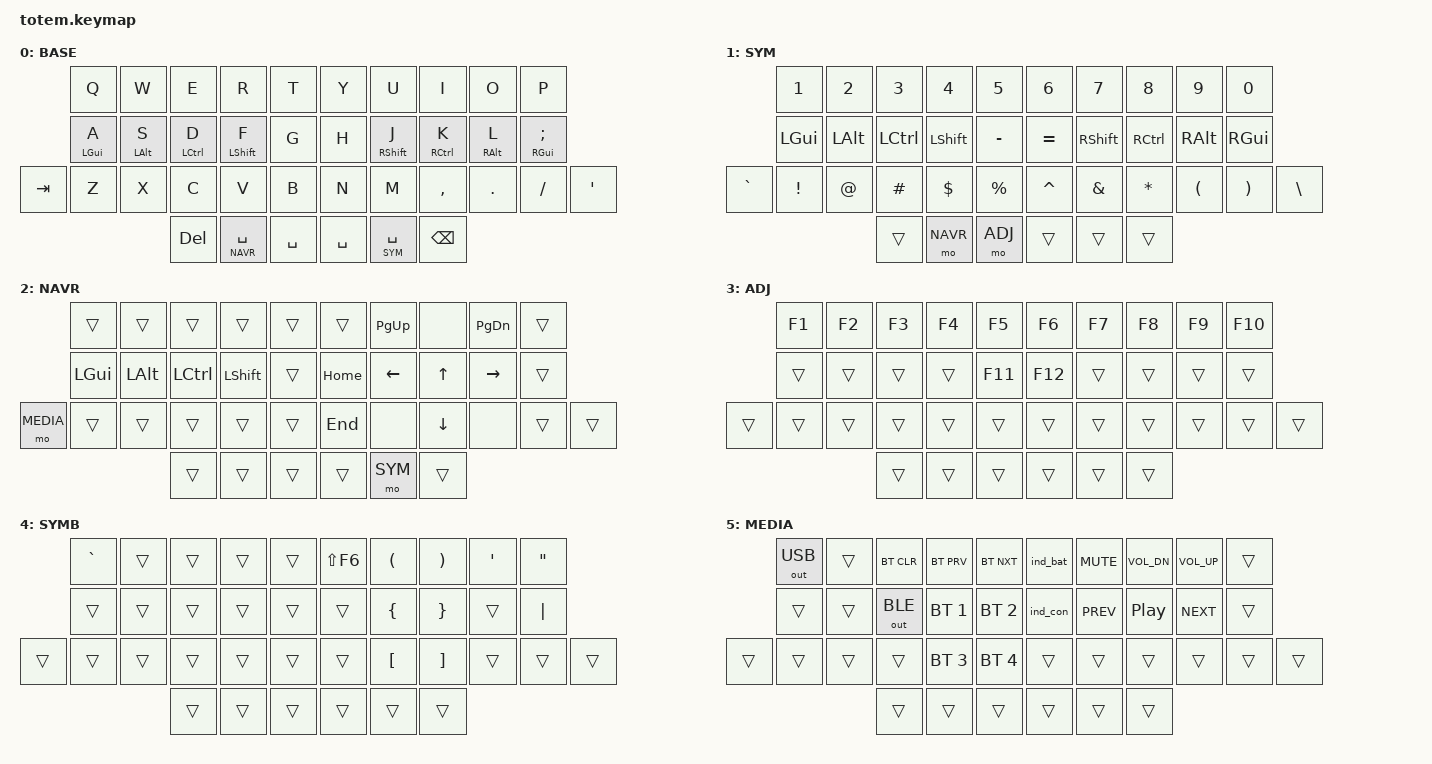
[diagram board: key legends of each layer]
//
//                                                        ▀▀▀▀▀     ▀▀▀▀▀          ▀▀█▀▀
//                                                        ▄▀▀▀▄  ▄  ▄▀▀▀▄  ▄  ▄▀▀▀▄  █  ▄▀▀▀▄
//                                                        █   █  █  █   █  █  █   █  █  █   █
//                                                         ▀▀▀   █   ▀▀▀   █   ▀▀▀   ▀   ▀▀▀
//                                                               █      ▄▄▄█▄▄▄    █   █  
//                                                               ▀      █  █  █     █▄█
//                                                             ▀▀▀▀▀    █  █  █      ▀
//                                                                      ▀  ▀  ▀
//
// ▄▄▄▄▄▄▄▄▄▄▄▄▄▄▄▄▄▄▄▄▄▄▄▄▄▄▄▄▄▄▄▄▄▄▄▄▄▄▄▄▄▄▄▄▄▄▄▄▄▄▄▄▄▄▄▄▄▄▄▄▄▄▄▄▄▄▄▄▄▄▄▄▄▄▄▄▄▄▄▄▄▄▄▄▄▄▄▄▄▄▄▄▄▄▄▄▄▄▄▄▄▄▄▄▄▄▄▄▄▄▄▄▄▄▄▄▄▄▄▄▄▄▄▄▄▄▄▄▄▄▄▄▄▄▄▄▄▄▄▄▄▄▄▄▄▄▄▄▄

#include <behaviors.dtsi>
#include <dt-bindings/zmk/bt.h>
#include <dt-bindings/zmk/keys.h>
#include <dt-bindings/zmk/outputs.h>
#include <behaviors/rgbled_widget.dtsi>

#define BASE 0
#define SYM  1
#define NAVR 2
#define ADJ  3
#define SYMB 4
#define MEDIA 5

&mt {
    quick-tap-ms = <100>;
    global-quick-tap;
    flavor = "tap-preferred";
    tapping-term-ms = <200>;
};

&lt {
    tapping-term-ms = <200>;
};

/ {
    combos {
        compatible = "zmk,combos";

        combo_esc {
            timeout-ms = <50>;
            key-positions = <0 1>;
            bindings = <&kp ESC>;
        };

        combo_return {
            timeout-ms = <100>;
            bindings = <&kp RETURN>;
            key-positions = <16 17>;
        };

        combo_delete {
            timeout-ms = <100>;
            bindings = <&kp DEL>;
            key-positions = <3 4>;
        };

        combo_backspace {
            timeout-ms = <75>;
            bindings = <&kp BACKSPACE>;
            key-positions = <7 8>;
        };

        combo_caps {
            timeout-ms = <75>;
            bindings = <&kp CAPS>;
            key-positions = <14 15>;
        };

        combo_tog_l2 {
            timeout-ms = <75>;
            bindings = <&tog 2>;
            key-positions = <24 25>;
        };
    };

    conditional_layers {
        compatible = "zmk,conditional-layers";
        tri_layer {
            if-layers = <1 2>;
            then-layer = <4>;
        };
    };

    keymap {
        compatible = "zmk,keymap";
        // ▄▄▄▄▄▄▄▄▄▄▄▄▄▄▄▄▄▄▄▄▄▄▄▄▄▄▄▄▄▄▄▄▄▄▄▄▄▄▄▄▄▄▄▄▄▄▄▄▄▄▄▄▄▄▄▄▄▄▄▄▄▄▄▄▄▄▄▄▄▄▄▄▄▄▄▄▄▄▄▄▄▄▄▄▄▄▄▄▄▄▄▄▄▄▄▄▄▄▄▄▄▄▄▄▄▄▄▄▄▄▄▄▄▄▄▄▄▄▄▄▄▄▄▄▄▄▄▄▄▄▄▄▄▄▄▄▄▄▄▄▄▄▄▄▄▄▄▄▄

        base_layer {
            // ┏━━━━━━━━━━━━━━━━━━━━━━━━━━━━━━━━━━━━━━━┓
            label = "BASE";
            // ┗━━━━━━━━━━━━━━━━━━━━━━━━━━━━━━━━━━━━━━━┛
            //             ┏━━━━━━━━━━━┳━━━━━━━━━━━┳━━━━━━━━━━━┳━━━━━━━━━━━┳━━━━━━━━━━━┓   ┏━━━━━━━━━━━┳━━━━━━━━━━━┳━━━━━━━━━━━┳━━━━━━━━━━━┳━━━━━━━━━━━┓
            //             ┃     Q     ┃     W     ┃     E     ┃     R     ┃     T     ┃   ┃     Y     ┃     U     ┃     I     ┃     O     ┃     P     ┃
            //             ┣━━━━━━━━━━━╋━━━━━━━━━━━╋━━━━━━━━━━━╋━━━━━━━━━━━╋━━━━━━━━━━━┫   ┣━━━━━━━━━━━╋━━━━━━━━━━━╋━━━━━━━━━━━╋━━━━━━━━━━━╋━━━━━━━━━━━┫
            //             ┃     A     ┃     S     ┃     D     ┃     F     ┃     G     ┃   ┃     H     ┃     J     ┃     K     ┃     L     ┃     ;     ┃
            // ┏━━━━━━━━━━━╋━━━━━━━━━━━╋━━━━━━━━━━━╋━━━━━━━━━━━╋━━━━━━━━━━━╋━━━━━━━━━━━┫   ┣━━━━━━━━━━━╋━━━━━━━━━━━╋━━━━━━━━━━━╋━━━━━━━━━━━╋━━━━━━━━━━━╋━━━━━━━━━━━┓
            // ┃    TAB    ┃     Z     ┃     X     ┃     C     ┃     V     ┃     B     ┃   ┃     N     ┃     M     ┃     ,     ┃     .     ┃     /     ┃    '/"    ┃
            // ┗━━━━━━━━━━━┻━━━━━━━━━━━┻━━━━━━━━━━━╋━━━━━━━━━━━╋━━━━━━━━━━━╋━━━━━━━━━━━┫   ┣━━━━━━━━━━━╋━━━━━━━━━━━╋━━━━━━━━━━━╋━━━━━━━━━━━┻━━━━━━━━━━━┻━━━━━━━━━━━┛
            //                                     ┃    DEL    ┃  NAV/SPC  ┃    SPC    ┃   ┃    SPC    ┃  SYM/SPC  ┃   BSPC    ┃
            //                                     ┗━━━━━━━━━━━┻━━━━━━━━━━━┻━━━━━━━━━━━┛   ┗━━━━━━━━━━━┻━━━━━━━━━━━┻━━━━━━━━━━━┛

            bindings = <
            &kp Q       &kp W       &kp E        &kp R           &kp T        &kp Y      &kp U        &kp I        &kp O       &kp P
            &mt LGUI A  &mt LALT S  &mt LCTRL D  &mt LSHFT F     &kp G        &kp H      &mt RSHFT J  &mt RCTRL K  &mt RALT L  &mt RGUI SEMI
&kp TAB     &kp Z       &kp X       &kp C        &kp V           &kp B        &kp N      &kp M        &kp COMMA    &kp DOT     &kp FSLH       &kp APOS
                                    &kp DEL      &lt NAVR SPACE  &kp SPACE    &kp SPACE  &lt SYM SPACE  &kp BSPC
            >;
        };

        // ▄▄▄▄▄▄▄▄▄▄▄▄▄▄▄▄▄▄▄▄▄▄▄▄▄▄▄▄▄▄▄▄▄▄▄▄▄▄▄▄▄▄▄▄▄▄▄▄▄▄▄▄▄▄▄▄▄▄▄▄▄▄▄▄▄▄▄▄▄▄▄▄▄▄▄▄▄▄▄▄▄▄▄▄▄▄▄▄▄▄▄▄▄▄▄▄▄▄▄▄▄▄▄▄▄▄▄▄▄▄▄▄▄▄▄▄▄▄▄▄▄▄▄▄▄▄▄▄▄▄▄▄▄▄▄▄▄▄▄▄▄▄▄▄▄▄▄▄▄

        sim_layer {
            // ┏━━━━━━━━━━━━━━━━━━━━━━━━━━━━━━━━━━━━━━━┓
            label = "SYM";
            // ┗━━━━━━━━━━━━━━━━━━━━━━━━━━━━━━━━━━━━━━━┛
            //             ┏━━━━━━━━━━━┳━━━━━━━━━━━┳━━━━━━━━━━━┳━━━━━━━━━━━┳━━━━━━━━━━━┓   ┏━━━━━━━━━━━┳━━━━━━━━━━━┳━━━━━━━━━━━┳━━━━━━━━━━━┳━━━━━━━━━━━┓
            //             ┃    1/!    ┃    2/@    ┃    3/#    ┃    4/$    ┃    5/%    ┃   ┃    6/ˆ    ┃    7/&    ┃    8/*    ┃    9/(    ┃    0/)    ┃
            //             ┣━━━━━━━━━━━╋━━━━━━━━━━━╋━━━━━━━━━━━╋━━━━━━━━━━━╋━━━━━━━━━━━┫   ┣━━━━━━━━━━━╋━━━━━━━━━━━╋━━━━━━━━━━━╋━━━━━━━━━━━╋━━━━━━━━━━━┫
            //             ┃    cmd    ┃    alt    ┃    ctrl   ┃   shift   ┃    -/_    ┃   ┃    =/+    ┃           ┃           ┃           ┃           ┃
            // ┏━━━━━━━━━━━╋━━━━━━━━━━━╋━━━━━━━━━━━╋━━━━━━━━━━━╋━━━━━━━━━━━╋━━━━━━━━━━━┫   ┣━━━━━━━━━━━╋━━━━━━━━━━━╋━━━━━━━━━━━╋━━━━━━━━━━━╋━━━━━━━━━━━╋━━━━━━━━━━━┓
            // ┃    `/~    ┃     !     ┃    @      ┃     #     ┃     $     ┃     %     ┃   ┃     ^     ┃     &     ┃     *     ┃     (     ┃     )     ┃      \    ┃
            // ┗━━━━━━━━━━━┻━━━━━━━━━━━┻━━━━━━━━━━━╋━━━━━━━━━━━╋━━━━━━━━━━━╋━━━━━━━━━━━┫   ┣━━━━━━━━━━━╋━━━━━━━━━━━╋━━━━━━━━━━━╋━━━━━━━━━━━┻━━━━━━━━━━━┻━━━━━━━━━━━┛
            //                                     ┃           ┃    NAVR   ┃    ADJ    ┃   ┃           ┃           ┃           ┃
            //                                     ┗━━━━━━━━━━━┻━━━━━━━━━━━┻━━━━━━━━━━━┛   ┗━━━━━━━━━━━┻━━━━━━━━━━━┻━━━━━━━━━━━┛

            bindings = <
                             &kp N1     &kp N2      &kp N3     &kp N4     &kp N5      &kp N6    &kp N7     &kp N8    &kp N9     &kp N0
                             &kp LGUI   &kp LALT    &kp LCTRL  &kp LSHFT  &kp MINUS   &kp EQUAL &kp RSHFT  &kp RCTRL &kp RALT   &kp RGUI
                &kp GRAVE    &kp EXCL   &kp AT_SIGN &kp HASH   &kp DLLR   &kp PRCNT   &kp CARET &kp AMPS   &kp STAR  &kp LPAR   &kp RPAR  &kp BSLH
                                                    &trans     &mo NAVR   &mo ADJ     &trans    &trans     &trans
            >;
        };

        // ▄▄▄▄▄▄▄▄▄▄▄▄▄▄▄▄▄▄▄▄▄▄▄▄▄▄▄▄▄▄▄▄▄▄▄▄▄▄▄▄▄▄▄▄▄▄▄▄▄▄▄▄▄▄▄▄▄▄▄▄▄▄▄▄▄▄▄▄▄▄▄▄▄▄▄▄▄▄▄▄▄▄▄▄▄▄▄▄▄▄▄▄▄▄▄▄▄▄▄▄▄▄▄▄▄▄▄▄▄▄▄▄▄▄▄▄▄▄▄▄▄▄▄▄▄▄▄▄▄▄▄▄▄▄▄▄▄▄▄▄▄▄▄▄▄▄▄▄▄

        navr_layer {
            // ┏━━━━━━━━━━━━━━━━━━━━━━━━━━━━━━━━━━━━━━━┓
            label = "NAVR";
            // ┗━━━━━━━━━━━━━━━━━━━━━━━━━━━━━━━━━━━━━━━┛
            //             ┏━━━━━━━━━━━┳━━━━━━━━━━━┳━━━━━━━━━━━┳━━━━━━━━━━━┳━━━━━━━━━━━┓   ┏━━━━━━━━━━━┳━━━━━━━━━━━┳━━━━━━━━━━━┳━━━━━━━━━━━┳━━━━━━━━━━━┓
            //             ┃           ┃           ┃           ┃           ┃           ┃   ┃           ┃   PG_UP   ┃           ┃   PG_DN   ┃           ┃
            //             ┣━━━━━━━━━━━╋━━━━━━━━━━━╋━━━━━━━━━━━╋━━━━━━━━━━━╋━━━━━━━━━━━┫   ┣━━━━━━━━━━━╋━━━━━━━━━━━╋━━━━━━━━━━━╋━━━━━━━━━━━╋━━━━━━━━━━━┫
            //             ┃    cmd    ┃    alt    ┃    ctrl   ┃   shift   ┃           ┃   ┃    HOME   ┃   LEFT    ┃     UP    ┃   RIGHT   ┃           ┃
            // ┏━━━━━━━━━━━╋━━━━━━━━━━━╋━━━━━━━━━━━╋━━━━━━━━━━━╋━━━━━━━━━━━╋━━━━━━━━━━━┫   ┣━━━━━━━━━━━╋━━━━━━━━━━━╋━━━━━━━━━━━╋━━━━━━━━━━━╋━━━━━━━━━━━╋━━━━━━━━━━━┓
            // ┃  MEDIA    ┃           ┃           ┃           ┃           ┃           ┃   ┃    END    ┃           ┃    DOWN   ┃           ┃           ┃           ┃
            // ┗━━━━━━━━━━━┻━━━━━━━━━━━┻━━━━━━━━━━━╋━━━━━━━━━━━╋━━━━━━━━━━━╋━━━━━━━━━━━┫   ┣━━━━━━━━━━━╋━━━━━━━━━━━╋━━━━━━━━━━━╋━━━━━━━━━━━┻━━━━━━━━━━━┻━━━━━━━━━━━┛
            //                                     ┃           ┃           ┃           ┃   ┃   RGUI    ┃           ┃           ┃
            //                                     ┗━━━━━━━━━━━┻━━━━━━━━━━━┻━━━━━━━━━━━┛   ┗━━━━━━━━━━━┻━━━━━━━━━━━┻━━━━━━━━━━━┛

            bindings = <
                           &trans   &trans   &trans    &trans    &trans    &trans    &kp PG_UP  &none    &kp PG_DN &trans
                           &kp LGUI &kp LALT &kp LCTRL &kp LSHFT &trans    &kp HOME  &kp LEFT   &kp UP   &kp RIGHT &trans
                &mo MEDIA  &trans   &trans   &trans    &trans    &trans    &kp END   &none      &kp DOWN &none    &trans  &trans
                                             &trans    &trans    &trans    &trans    &mo SYM    &trans
            >;
        };

        // ▄▄▄▄▄▄▄▄▄▄▄▄▄▄▄▄▄▄▄▄▄▄▄▄▄▄▄▄▄▄▄▄▄▄▄▄▄▄▄▄▄▄▄▄▄▄▄▄▄▄▄▄▄▄▄▄▄▄▄▄▄▄▄▄▄▄▄▄▄▄▄▄▄▄▄▄▄▄▄▄▄▄▄▄▄▄▄▄▄▄▄▄▄▄▄▄▄▄▄▄▄▄▄▄▄▄▄▄▄▄▄▄▄▄▄▄▄▄▄▄▄▄▄▄▄▄▄▄▄▄▄▄▄▄▄▄▄▄▄▄▄▄▄▄▄▄▄▄▄

        adjust_layer {
            // ┏━━━━━━━━━━━━━━━━━━━━━━━━━━━━━━━━━━━━━━━┓

            label = "ADJ";

            // ┗━━━━━━━━━━━━━━━━━━━━━━━━━━━━━━━━━━━━━━━┛
            //             ┏━━━━━━━━━━━┳━━━━━━━━━━━┳━━━━━━━━━━━┳━━━━━━━━━━━┳━━━━━━━━━━━┓   ┏━━━━━━━━━━━┳━━━━━━━━━━━┳━━━━━━━━━━━┳━━━━━━━━━━━┳━━━━━━━━━━━┓
            //             ┃    F1     ┃    F2     ┃    F3     ┃    F4     ┃    F5     ┃   ┃    F6     ┃    F7     ┃    F8     ┃    F9     ┃    F10    ┃
            //             ┣━━━━━━━━━━━╋━━━━━━━━━━━╋━━━━━━━━━━━╋━━━━━━━━━━━╋━━━━━━━━━━━┫   ┣━━━━━━━━━━━╋━━━━━━━━━━━╋━━━━━━━━━━━╋━━━━━━━━━━━╋━━━━━━━━━━━┫
            //             ┃           ┃           ┃           ┃           ┃    F11    ┃   ┃    F12    ┃           ┃           ┃           ┃           ┃
            // ┏━━━━━━━━━━━╋━━━━━━━━━━━╋━━━━━━━━━━━╋━━━━━━━━━━━╋━━━━━━━━━━━╋━━━━━━━━━━━┫   ┣━━━━━━━━━━━╋━━━━━━━━━━━╋━━━━━━━━━━━╋━━━━━━━━━━━╋━━━━━━━━━━━╋━━━━━━━━━━━┓
            // ┃           ┃           ┃           ┃           ┃           ┃           ┃   ┃           ┃           ┃           ┃           ┃           ┃           ┃
            // ┗━━━━━━━━━━━┻━━━━━━━━━━━┻━━━━━━━━━━━╋━━━━━━━━━━━╋━━━━━━━━━━━╋━━━━━━━━━━━┫   ┣━━━━━━━━━━━╋━━━━━━━━━━━╋━━━━━━━━━━━╋━━━━━━━━━━━┻━━━━━━━━━━━┻━━━━━━━━━━━┛
            //                                     ┃           ┃           ┃           ┃   ┃           ┃           ┃           ┃
            //                                     ┗━━━━━━━━━━━┻━━━━━━━━━━━┻━━━━━━━━━━━┛   ┗━━━━━━━━━━━┻━━━━━━━━━━━┻━━━━━━━━━━━┛

            bindings = <
                         &kp F1  &kp F2  &kp F3  &kp F4  &kp F5    &kp F6  &kp F7  &kp F8  &kp F9  &kp F10
                         &trans  &trans  &trans  &trans  &kp F11   &kp F12 &trans  &trans  &trans  &trans
                  &trans &trans  &trans  &trans  &trans  &trans    &trans  &trans  &trans  &trans  &trans  &trans
                                         &trans  &trans  &trans    &trans  &trans  &trans
            >;
        };

        // ▄▄▄▄▄▄▄▄▄▄▄▄▄▄▄▄▄▄▄▄▄▄▄▄▄▄▄▄▄▄▄▄▄▄▄▄▄▄▄▄▄▄▄▄▄▄▄▄▄▄▄▄▄▄▄▄▄▄▄▄▄▄▄▄▄▄▄▄▄▄▄▄▄▄▄▄▄▄▄▄▄▄▄▄▄▄▄▄▄▄▄▄▄▄▄▄▄▄▄▄▄▄▄▄▄▄▄▄▄▄▄▄▄▄▄▄▄▄▄▄▄▄▄▄▄▄▄▄▄▄▄▄▄▄▄▄▄▄▄▄▄▄▄▄▄▄▄▄▄

        symbols_layer {
            // ┏━━━━━━━━━━━━━━━━━━━━━━━━━━━━━━━━━━━━━━━┓

            label = "SYMB";

            // ┗━━━━━━━━━━━━━━━━━━━━━━━━━━━━━━━━━━━━━━━┛
            //             ┏━━━━━━━━━━━┳━━━━━━━━━━━┳━━━━━━━━━━━┳━━━━━━━━━━━┳━━━━━━━━━━━┓   ┏━━━━━━━━━━━┳━━━━━━━━━━━┳━━━━━━━━━━━┳━━━━━━━━━━━┳━━━━━━━━━━━┓
            //             ┃     `     ┃           ┃           ┃           ┃           ┃   ┃   LS(F6)  ┃     (     ┃     )     ┃     '     ┃     "     ┃
            //             ┣━━━━━━━━━━━╋━━━━━━━━━━━╋━━━━━━━━━━━╋━━━━━━━━━━━╋━━━━━━━━━━━┫   ┣━━━━━━━━━━━╋━━━━━━━━━━━╋━━━━━━━━━━━╋━━━━━━━━━━━╋━━━━━━━━━━━┫
            //             ┃           ┃           ┃           ┃           ┃           ┃   ┃           ┃     {     ┃     }     ┃           ┃     |     ┃
            // ┏━━━━━━━━━━━╋━━━━━━━━━━━╋━━━━━━━━━━━╋━━━━━━━━━━━╋━━━━━━━━━━━╋━━━━━━━━━━━┫   ┣━━━━━━━━━━━╋━━━━━━━━━━━╋━━━━━━━━━━━╋━━━━━━━━━━━╋━━━━━━━━━━━╋━━━━━━━━━━━┓
            // ┃           ┃           ┃           ┃           ┃           ┃           ┃   ┃           ┃     [     ┃     ]     ┃           ┃           ┃           ┃
            // ┗━━━━━━━━━━━┻━━━━━━━━━━━┻━━━━━━━━━━━╋━━━━━━━━━━━╋━━━━━━━━━━━╋━━━━━━━━━━━┫   ┣━━━━━━━━━━━╋━━━━━━━━━━━╋━━━━━━━━━━━╋━━━━━━━━━━━┻━━━━━━━━━━━┻━━━━━━━━━━━┛
            //                                     ┃           ┃           ┃           ┃   ┃           ┃           ┃           ┃
            //                                     ┗━━━━━━━━━━━┻━━━━━━━━━━━┻━━━━━━━━━━━┛   ┗━━━━━━━━━━━┻━━━━━━━━━━━┻━━━━━━━━━━━┛

            bindings = <
                           &kp GRAVE  &trans  &trans  &trans  &trans      &kp LS(F6)  &kp LPAR   &kp RPAR    &kp APOS  &kp DQT
                           &trans     &trans  &trans  &trans  &trans      &trans  &kp LBRC  &kp RBRC  &trans  &kp PIPE
                 &trans    &trans     &trans  &trans  &trans  &trans      &trans  &kp LBKT  &kp RBKT  &trans  &trans  &trans
                                              &trans  &trans  &trans      &trans  &trans    &trans
            >;
        };


        media_layer {
            // ┏━━━━━━━━━━━━━━━━━━━━━━━━━━━━━━━━━━━━━━━┓
            label = "MEDIA";
            // ┗━━━━━━━━━━━━━━━━━━━━━━━━━━━━━━━━━━━━━━━┛
            //             ┏━━━━━━━━━━━┳━━━━━━━━━━━┳━━━━━━━━━━━┳━━━━━━━━━━━┳━━━━━━━━━━━┓   ┏━━━━━━━━━━━┳━━━━━━━━━━━┳━━━━━━━━━━━┳━━━━━━━━━━━┳━━━━━━━━━━━┓
            //             ┃  OUT_USB  ┃           ┃  BT_CLR   ┃   BT_PRV  ┃   BT_NXT  ┃   ┃  battery  ┃   mute    ┃  vol-     ┃   vol+    ┃           ┃
            //             ┣━━━━━━━━━━━╋━━━━━━━━━━━╋━━━━━━━━━━━╋━━━━━━━━━━━╋━━━━━━━━━━━┫   ┣━━━━━━━━━━━╋━━━━━━━━━━━╋━━━━━━━━━━━╋━━━━━━━━━━━╋━━━━━━━━━━━┫
            //             ┃           ┃           ┃  OUT_BLE  ┃    BT1    ┃    BT2    ┃   ┃  con_stat ┃   PREV    ┃   PAUSE   ┃   NEXT    ┃           ┃
            // ┏━━━━━━━━━━━╋━━━━━━━━━━━╋━━━━━━━━━━━╋━━━━━━━━━━━╋━━━━━━━━━━━╋━━━━━━━━━━━┫   ┣━━━━━━━━━━━╋━━━━━━━━━━━╋━━━━━━━━━━━╋━━━━━━━━━━━╋━━━━━━━━━━━╋━━━━━━━━━━━┓
            // ┃           ┃           ┃           ┃           ┃    BT3    ┃    BT4    ┃   ┃           ┃           ┃           ┃           ┃           ┃           ┃
            // ┗━━━━━━━━━━━┻━━━━━━━━━━━┻━━━━━━━━━━━╋━━━━━━━━━━━╋━━━━━━━━━━━╋━━━━━━━━━━━┫   ┣━━━━━━━━━━━╋━━━━━━━━━━━╋━━━━━━━━━━━╋━━━━━━━━━━━┻━━━━━━━━━━━┻━━━━━━━━━━━┛
            //                                     ┃           ┃           ┃           ┃   ┃           ┃           ┃           ┃
            //                                     ┗━━━━━━━━━━━┻━━━━━━━━━━━┻━━━━━━━━━━━┛   ┗━━━━━━━━━━━┻━━━━━━━━━━━┻━━━━━━━━━━━┛

            bindings = <
                        &out OUT_USB  &trans  &bt BT_CLR   &bt BT_PRV   &bt BT_NXT     &ind_bat  &kp C_MUTE  &kp C_VOL_DN  &kp C_VOL_UP  &trans
                        &trans        &trans  &out OUT_BLE &bt BT_SEL 1 &bt BT_SEL 2   &ind_con  &kp C_PREV  &kp C_PP      &kp C_NEXT    &trans
                &trans  &trans        &trans  &trans       &bt BT_SEL 3 &bt BT_SEL 4   &trans    &trans      &trans        &trans        &trans  &trans
                                              &trans       &trans       &trans         &trans    &trans      &trans
            >;
        };
    };
};
